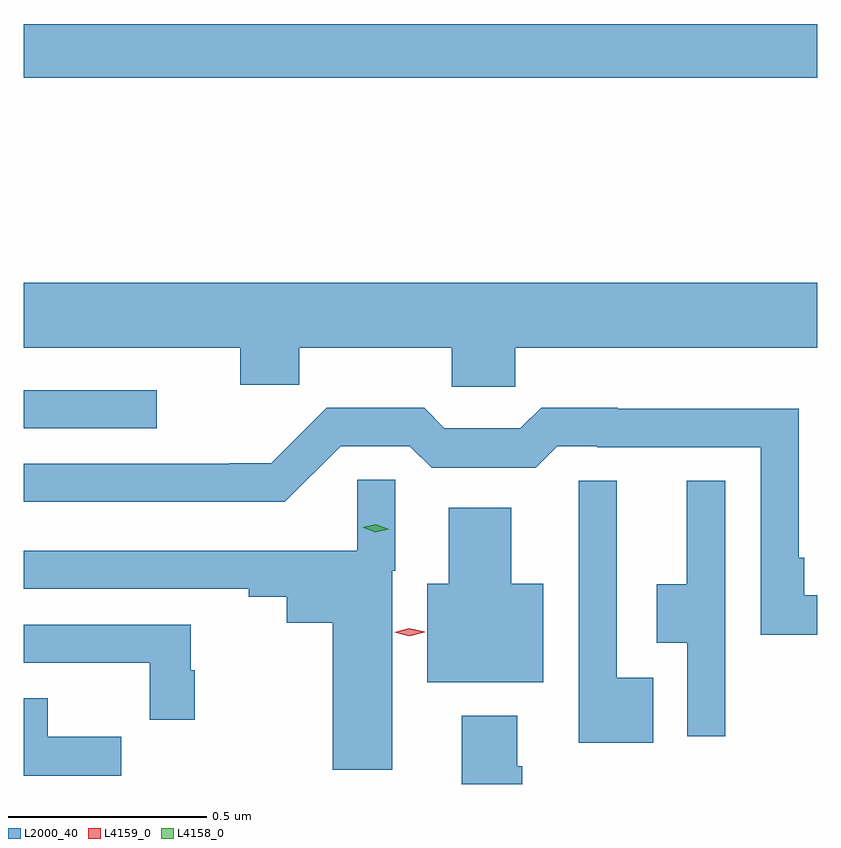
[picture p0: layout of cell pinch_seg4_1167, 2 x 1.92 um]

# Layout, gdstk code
import gdstk
lib = gdstk.Library(unit=1e-6, precision=1e-09)
def R(c, l, rs):  # rectangles x0, y0, x1, y1
    for r in rs: c.add(gdstk.rectangle(r[:2], r[2:], *l))
def P(c, l, *ps):  # polygons
    for p in ps: c.add(gdstk.Polygon(p, *l))
L2000_40 = (2000, 40)
L4158_0 = (4158, 0)
L4159_0 = (4159, 0)

pinch_seg4_1167 = lib.new_cell('pinch_seg4_1167')
R(pinch_seg4_1167, L2000_40, [(472.481,777.969,472.816,778.065), (472.481,778.852,474.481,778.988)])
P(pinch_seg4_1167, L2000_40, [(473.72,778.172),(474.481,778.172),(474.481,778.336),(472.481,778.336),(472.481,778.172),(473.027,778.172),(473.027,778.079),(473.175,778.079),(473.175,778.172),(473.56,778.172),(473.56,778.074),(473.72,778.074)],
  [(474.481,777.548),(474.448,777.548),(474.448,777.643),(474.435,777.643),(474.435,778.018),(473.978,778.018),(473.978,778.021),(473.785,778.021),(473.733,777.969),(473.541,777.969),(473.49,778.021),(473.245,778.021),(473.105,777.881),(473,777.881),(473,777.879),(472.481,777.879),(472.481,777.783),(473.139,777.783),(473.28,777.924),(473.454,777.924),(473.509,777.869),(473.771,777.869),(473.826,777.924),(473.926,777.924),(473.926,777.921),(474.339,777.921),(474.339,777.448),(474.481,777.448)],
  [(473.41,777.609),(473.417,777.609),(473.417,777.839),(473.322,777.839),(473.322,777.66),(472.481,777.66),(472.481,777.564),(473.048,777.564),(473.048,777.544),(473.144,777.544),(473.144,777.479),(473.26,777.479),(473.26,777.108),(473.41,777.108)],
  [(474.249,777.836),(474.152,777.836),(474.152,777.576),(474.077,777.576),(474.077,777.428),(474.153,777.428),(474.153,777.192),(474.249,777.192)],
  [(474.068,777.34),(473.976,777.34),(473.976,777.836),(473.88,777.836),(473.88,777.176),(474.068,777.176)],
  [(473.791,777.577),(473.71,777.577),(473.71,777.769),(473.552,777.769),(473.552,777.577),(473.498,777.577),(473.498,777.329),(473.791,777.329)],
  [(472.912,777.359),(472.902,777.359),(472.902,777.474),(472.481,777.474),(472.481,777.378),(472.798,777.378),(472.798,777.234),(472.912,777.234)],
  [(472.726,777.191),(472.541,777.191),(472.541,777.288),(472.481,777.288),(472.481,777.093),(472.726,777.093)],
  [(473.738,777.117),(473.725,777.117),(473.725,777.244),(473.585,777.244),(473.585,777.072),(473.738,777.072)])
P(pinch_seg4_1167, L4158_0, [(473.367,777.707),(473.334,777.719),(473.334,777.719),(473.334,777.719),(473.368,777.727),(473.402,777.714),(473.402,777.714),(473.402,777.714)])
P(pinch_seg4_1167, L4159_0, [(473.453,777.445),(473.415,777.455),(473.415,777.455),(473.415,777.455),(473.453,777.465),(473.492,777.456),(473.492,777.455),(473.492,777.455)])

lib.write_gds('pinch_seg4_1167.gds')
